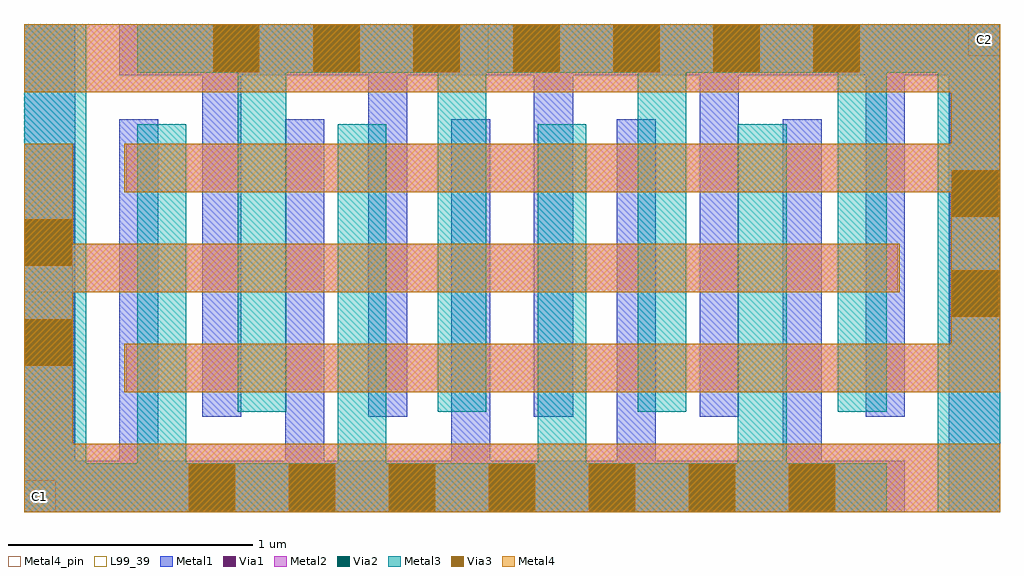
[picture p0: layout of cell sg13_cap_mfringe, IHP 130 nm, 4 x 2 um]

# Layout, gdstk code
import gdstk
lib = gdstk.Library(unit=1e-6, precision=1e-09)
def R(c, l, rs):  # rectangles x0, y0, x1, y1
    for r in rs: c.add(gdstk.rectangle(r[:2], r[2:], *l))
def A(c, l, x, y, w, h, nx, ny, dx, dy):  # array of equal rectangles
    R(c, l, [(x+i*dx, y+j*dy, x+i*dx+w, y+j*dy+h) for i in range(nx) for j in range(ny)])
Metal1 = (8, 0)
Metal2 = (10, 0)
Via1 = (19, 0)
Via2 = (29, 0)
Metal3 = (30, 0)
Via3 = (49, 0)
Metal4 = (50, 0)
Metal4_pin = (50, 2)
L99_39 = (99, 39)

cap_mfringe = lib.new_cell('cap_mfringe')
A(cap_mfringe, Metal1, 0.39, 0, 0.16, 1.61, 5, 1, 0.68, 0)
A(cap_mfringe, Metal1, 0.73, 0.39, 0.16, 1.61, 5, 1, 0.68, 0)
R(cap_mfringe, Metal1, [(0,0,0.21,2), (0,0,3.61,0.21), (3.79,0,4,2), (0.39,1.79,4,2)])
R(cap_mfringe, Metal2, [(0,0,4,0.28), (0,0,0.205,1.51), (0.42,0.49,4,0.69), (3.795,0.49,4,2), (0,0.9,3.58,1.1), (0.42,1.31,4,1.51), (0,1.72,4,2)])
A(cap_mfringe, Via1, 0.675, 0.01, 0.19, 0.19, 7, 1, 0.41, 0)
A(cap_mfringe, Via1, 0.775, 1.8, 0.19, 0.19, 7, 1, 0.41, 0)
R(cap_mfringe, Via1, [(0.01,0.6,0.2,0.79), (3.8,0.8,3.99,0.99), (0.01,1.01,0.2,1.2), (3.8,1.21,3.99,1.4)])
A(cap_mfringe, Via2, 0.675, 0.005, 0.19, 0.19, 7, 1, 0.41, 0)
A(cap_mfringe, Via2, 0.775, 1.805, 0.19, 0.19, 7, 1, 0.41, 0)
R(cap_mfringe, Via2, [(0.005,0.6,0.195,0.79), (3.805,0.8,3.995,0.99), (0.005,1.01,0.195,1.2), (3.805,1.21,3.995,1.4)])
A(cap_mfringe, Metal3, 0.465, 0, 0.2, 1.59, 4, 1, 0.82, 0)
A(cap_mfringe, Metal3, 0.875, 0.41, 0.2, 1.59, 4, 1, 0.82, 0)
R(cap_mfringe, Metal3, [(0,0,0.255,2), (0,0,3.535,0.2), (3.745,0,4,2), (0.465,1.8,4,2)])
A(cap_mfringe, Via3, 0.675, 0.005, 0.19, 0.19, 7, 1, 0.41, 0)
A(cap_mfringe, Via3, 0.775, 1.805, 0.19, 0.19, 7, 1, 0.41, 0)
R(cap_mfringe, Via3, [(0.005,0.6,0.195,0.79), (3.805,0.8,3.995,0.99), (0.005,1.01,0.195,1.2), (3.805,1.21,3.995,1.4)])
R(cap_mfringe, Metal4, [(0,0,4,0.28), (0,0,0.2,1.51), (0.41,0.49,4,0.69), (3.8,0.49,4,2), (0,0.9,3.59,1.1), (0.41,1.31,4,1.51), (0,1.72,4,2)])
R(cap_mfringe, Metal4_pin, [(0,0.9,0.2,1.1), (1.9,1.8,2.1,2)])
R(cap_mfringe, L99_39, [(0,0,4,2)])
cap_mfringe.add(gdstk.Label('cap_mfringe C=18.560fF', (0,-0.5), layer=63, texttype=0))

sg13_cap_mfringe = lib.new_cell('sg13_cap_mfringe')
R(sg13_cap_mfringe, Metal4_pin, [(0.01,0.01,0.14,0.14), (3.88,1.88,4.01,2.01)])
sg13_cap_mfringe.add(gdstk.Reference(cap_mfringe, (0.01,0.01)))
sg13_cap_mfringe.add(gdstk.Label('C1', (0.075,0.075), layer=50, texttype=25))
sg13_cap_mfringe.add(gdstk.Label('C2', (3.945,1.945), layer=50, texttype=25))

lib.write_gds('sg13_cap_mfringe.gds')
